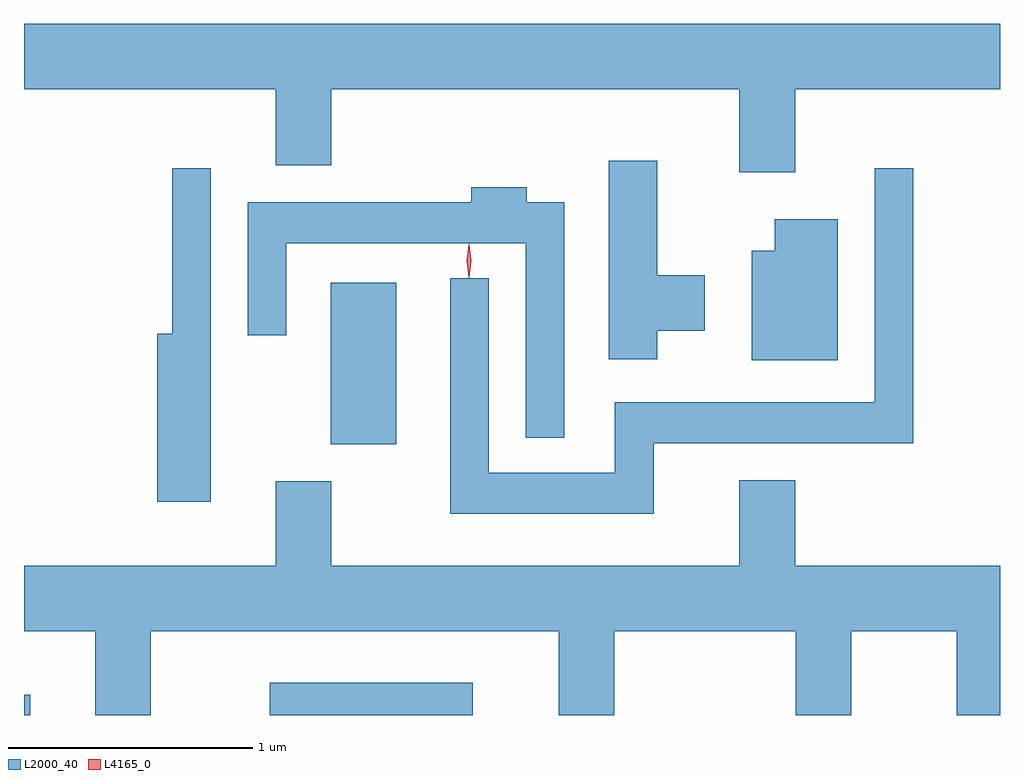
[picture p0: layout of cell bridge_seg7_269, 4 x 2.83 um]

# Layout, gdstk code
import gdstk
lib = gdstk.Library(unit=1e-6, precision=1e-09)
def R(c, l, rs):  # rectangles x0, y0, x1, y1
    for r in rs: c.add(gdstk.rectangle(r[:2], r[2:], *l))
def P(c, l, *ps):  # polygons
    for p in ps: c.add(gdstk.Polygon(p, *l))
L2000_40 = (2000, 40)
L4165_0 = (4165, 0)

bridge_seg7_269 = lib.new_cell('bridge_seg7_269')
R(bridge_seg7_269, L2000_40, [(1255.929,1802.772,1255.954,1802.854), (1256.936,1802.772,1257.769,1802.904), (1257.186,1803.881,1257.454,1804.544)])
P(bridge_seg7_269, L2000_40, [(1259.089,1805.336),(1259.929,1805.336),(1259.929,1805.604),(1255.929,1805.604),(1255.929,1805.336),(1256.961,1805.336),(1256.961,1805.026),(1257.189,1805.026),(1257.189,1805.336),(1258.861,1805.336),(1258.861,1804.996),(1259.089,1804.996)],
  [(1258.524,1804.346),(1258.719,1804.346),(1258.719,1804.574),(1258.524,1804.574),(1258.524,1805.044),(1258.326,1805.044),(1258.326,1804.231),(1258.524,1804.231)],
  [(1256.694,1805.013),(1256.536,1805.013),(1256.536,1804.334),(1256.476,1804.334),(1256.476,1803.646),(1256.694,1803.646)],
  [(1258.509,1803.886),(1259.574,1803.886),(1259.574,1805.013),(1259.416,1805.013),(1259.416,1804.054),(1258.351,1804.054),(1258.351,1803.764),(1257.834,1803.764),(1257.834,1804.563),(1257.676,1804.563),(1257.676,1803.596),(1258.509,1803.596)],
  [(1258.144,1804.874),(1257.989,1804.874),(1257.989,1804.934),(1257.761,1804.934),(1257.761,1804.874),(1256.846,1804.874),(1256.846,1804.328),(1257.004,1804.328),(1257.004,1804.706),(1257.986,1804.706),(1257.986,1803.908),(1258.144,1803.908)],
  [(1259.264,1804.804),(1259.006,1804.804),(1259.006,1804.674),(1258.911,1804.674),(1258.911,1804.226),(1259.264,1804.226)],
  [(1256.449,1803.116),(1258.121,1803.116),(1258.121,1802.772),(1258.349,1802.772),(1258.349,1803.116),(1259.091,1803.116),(1259.091,1802.772),(1259.319,1802.772),(1259.319,1803.116),(1259.751,1803.116),(1259.751,1802.772),(1259.929,1802.772),(1259.929,1803.384),(1259.089,1803.384),(1259.089,1803.734),(1258.861,1803.734),(1258.861,1803.384),(1257.189,1803.384),(1257.189,1803.729),(1256.961,1803.729),(1256.961,1803.384),(1255.929,1803.384),(1255.929,1803.116),(1256.221,1803.116),(1256.221,1802.772),(1256.449,1802.772)])
P(bridge_seg7_269, L4165_0, [(1257.753,1804.563),(1257.752,1804.564),(1257.743,1804.633),(1257.752,1804.702),(1257.753,1804.703),(1257.753,1804.702),(1257.763,1804.633),(1257.753,1804.564)],
  [(1257.753,1804.567),(1257.752,1804.568),(1257.743,1804.634),(1257.752,1804.7),(1257.753,1804.7),(1257.753,1804.7),(1257.763,1804.634),(1257.754,1804.568)])

lib.write_gds('bridge_seg7_269.gds')
